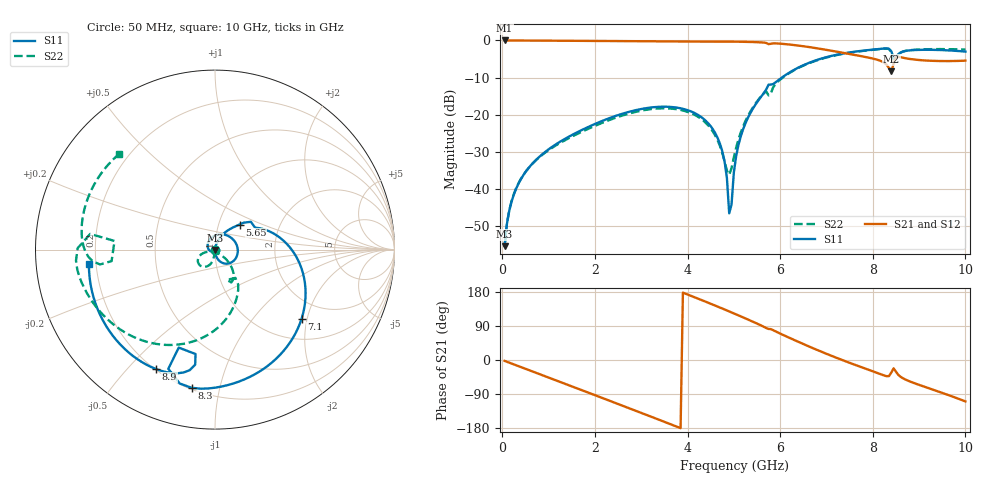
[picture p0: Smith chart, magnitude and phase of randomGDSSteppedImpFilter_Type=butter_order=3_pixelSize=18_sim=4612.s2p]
! freq	dB(S11)	phase(S11)	dB(S12)	phase(S12)
!  dB(S21)	phase(S21)	dB(S22)	phase(S22)
!S-par simulation data
#  GHz  S  DB  R 50
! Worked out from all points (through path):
!   200 points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, 50 MHz to 10 GHz, reference 50 ohm
!   highest |S21| = 0.00 dB at 50 MHz (marker M1); lowest = -8.4 dB at 8.4 GHz (marker M2)
!   group delay of S21, straight-line fit = 133 ps
!   lowest |S11| = -55.5 dB at 50 MHz (marker M3), VSWR 1.00, Z = 50 - j0.167 ohm
!   |S11| at or under -10 dB: start of sweep to 6.039 GHz
!   |S22| runs from -55.4 to -2.2 dB; largest |S21 - S12| = 0
!   S11 on the Smith chart (normalised r, x): 50 MHz: 1.00, -0.00; 5.65 GHz: 1.26, +0.37; 7.1 GHz: 1.49, -1.85; 8.3 GHz: 0.21, -0.82; 8.9 GHz: 0.20, -0.60; 10 GHz: 0.17, -0.05
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0.05  -55.52 -92.2  -0.00 -2.4  -0.00 -2.4  -55.37 -88.3
0.2  -43.48 -107.0  -0.02 -9.3  -0.02 -9.3  -43.35 -91.2
0.45  -36.45 -129.3  -0.03 -20.9  -0.03 -20.9  -36.38 -93.6
1.75  -23.97 116.9  -0.11 -81.1  -0.11 -81.1  -24.45 -101.4
2.5  -20.15 57.9  -0.17 -116.1  -0.17 -116.1  -20.64 -110.6
3.4  -17.90 -2.9  -0.26 -158.4  -0.26 -158.4  -18.34 -132.3
4.55  -24.03 -70.7  -0.30 146.0  -0.30 146.0  -24.63 -164.4
4.8  -32.68 -82.9  -0.31 133.4  -0.31 133.4  -32.66 -148.7
4.85  -37.07 -83.3  -0.31 130.8  -0.31 130.8  -35.13 -130.7
4.9  -46.66 -63.7  -0.32 128.2  -0.32 128.2  -36.25 -100.1
4.95  -44.32 71.1  -0.32 125.6  -0.32 125.6  -34.47 -70.5
5.05  -31.19 76.3  -0.33 120.4  -0.33 120.4  -28.91 -46.2
5.25  -22.37 66.7  -0.37 109.8  -0.37 109.8  -21.75 -41.1
5.65  -14.15 45.5  -0.58 87.5  -0.58 87.5  -14.22 -58.1
6.7  -5.68 -17.5  -1.93 31.6  -1.93 31.6  -5.78 -101.3
7.1  -4.19 -38.5  -2.76 11.4  -2.76 11.4  -4.29 -120.0
8.3  -2.15 -99.6  -6.57 -42.8  -6.57 -42.8  -2.19 -175.5
8.35  -2.25 -104.8  -7.45 -42.4  -7.45 -42.4  -2.32 179.4
8.4  -2.93 -111.4  -8.35 -33.1  -8.35 -33.1  -3.09 172.8
8.5  -4.56 -100.6  -4.62 -30.8  -4.62 -30.8  -4.73 -173.6
8.9  -2.59 -116.3  -5.16 -61.2  -5.16 -61.2  -2.51 172.8
10  -3.01 -173.6  -5.45 -109.3  -5.45 -109.3  -2.45 134.9
